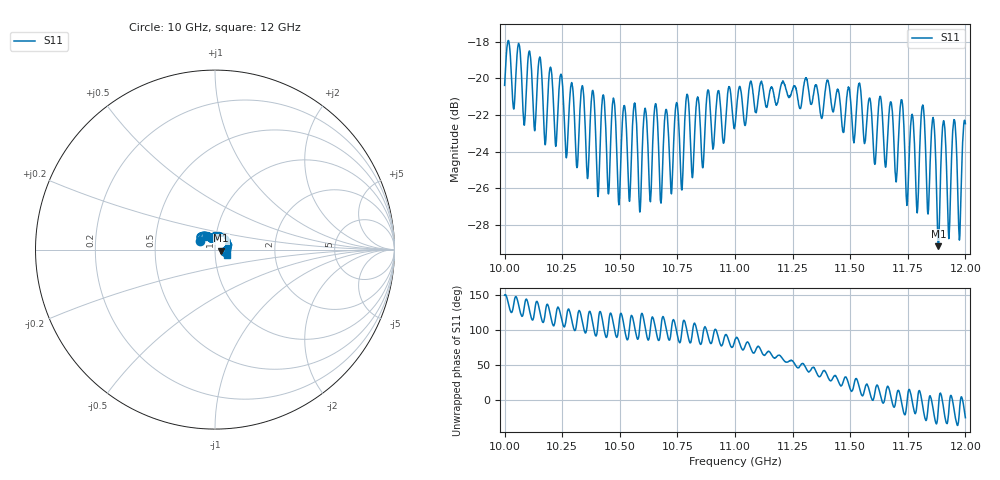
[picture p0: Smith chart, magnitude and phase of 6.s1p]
[Version] 2.0
! Rohde & Schwarz Vector Network Analyzer
! Rohde-Schwarz,ZNL20-2Port,1323001220200009,1.71.1.10-23.02.1.238
! Port Assignments:
! Nominal Port -> Actual Test Port
!  1 -> 1
! Created: GMT 2024-09-04 11:59:20
# Hz S DB R 50
[Number of Ports] 1
! freq[Hz]  S11[mag dB]  S11[ang]
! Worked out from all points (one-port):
!   2001 points, 10 GHz to 12 GHz, reference 50 ohm
!   lowest |S11| = -29.2 dB at 11.88 GHz (marker M1), VSWR 1.07, Z = 53.5 - j0.696 ohm
!   |S11| at or under -10 dB: start of sweep to end of sweep
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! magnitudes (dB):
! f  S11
! 10 GHz  -20.4
! 10.25 GHz  -20.2
! 10.36 GHz  -25.5
! 10.38 GHz  -20.7
! 10.41 GHz  -26.5
! 10.47 GHz  -21.1
! 10.5 GHz  -26.2
! 10.52 GHz  -21.5
! 10.59 GHz  -27.3
! 10.61 GHz  -21.7
! 10.68 GHz  -26.8
! 10.75 GHz  -21.5
! 10.77 GHz  -26.1
! 10.79 GHz  -20.9
! 10.81 GHz  -25.4
! 11 GHz  -22.6
! 11.25 GHz  -20.6
! 11.5 GHz  -21.0
! 11.7 GHz  -25.6
! 11.72 GHz  -21.2
! 11.75 GHz  -26.4
! 11.81 GHz  -21.5
! 11.88 GHz  -29.2
! 11.9 GHz  -22.4
! 11.93 GHz  -28.7
! 11.95 GHz  -22.3
! 11.97 GHz  -28.8
! 12 GHz  -22.5
